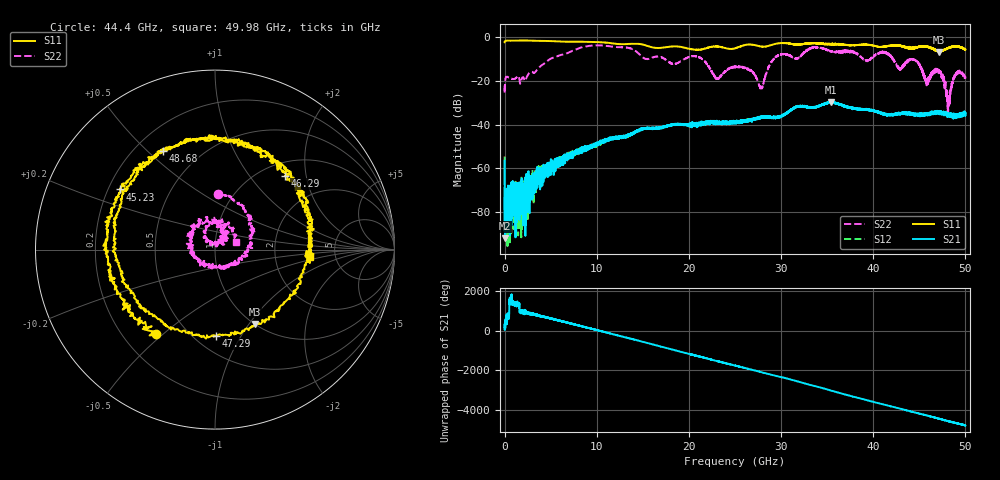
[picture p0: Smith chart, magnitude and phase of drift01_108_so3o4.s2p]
!Created with skrf (http://scikit-rf.org).
# Hz S RI R 50.0
!freq ReS11 ImS11 ReS21 ImS21 ReS12 ImS12 ReS22 ImS22
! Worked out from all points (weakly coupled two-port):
!   10001 points, 300 kHz to 50 GHz, reference 50 ohm
!   highest |S21| = -29.51 dB at 35.42 GHz (marker M1); lowest = -92.0 dB at 55.3 MHz (marker M2)
!   lowest |S11| = -6.6 dB at 47.1 GHz (marker M3), VSWR 2.76, Z = 50.1 - j53.1 ohm
!   |S11| at or under -10 dB: nowhere
!   |S22| runs from -35.3 to -3.6 dB; largest |S21 - S12| = 0.0038
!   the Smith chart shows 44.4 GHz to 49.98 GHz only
!   S11 on the Smith chart (normalised r, x): 44.4 GHz: 0.34, -0.47; 45.23 GHz: 0.25, +0.27; 46.29 GHz: 1.25, +1.52; 47.29 GHz: 0.63, -0.78; 48.68 GHz: 0.31, +0.56; 49.98 GHz: 3.21, -0.38
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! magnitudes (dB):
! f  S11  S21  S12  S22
! 300 kHz  -2.1  -56.5  -54.5  -22.0
! 55.3 MHz  -1.6  -92.0  -74.0  -20.2
! 325.3 MHz  -1.4  -75.3  -88.1  -18.0
! 8.335 GHz  -1.9  -52.5  -52.6  -4.5
! 16.67 GHz  -4.8  -41.5  -41.4  -8.7
! 20.96 GHz  -5.6  -40.0  -39.4  -8.7
! 23.08 GHz  -4.1  -39.1  -39.5  -18.8
! 25 GHz  -5.0  -38.7  -38.8  -13.7
! 27.85 GHz  -4.1  -36.6  -36.8  -23.0
! 29.47 GHz  -2.8  -36.8  -36.5  -8.8
! 33.34 GHz  -2.6  -31.9  -31.9  -4.7
! 35.42 GHz  -2.8  -29.5  -29.8  -6.2
! 41.67 GHz  -3.9  -35.4  -35.4  -7.7
! 44.4 GHz  -4.8  -35.2  -35.2  -10.2
! 45.23 GHz  -4.1  -34.8  -35.8  -14.5
! 46.29 GHz  -4.9  -35.3  -34.3  -17.4
! 47.1 GHz  -6.6  -34.4  -34.5  -15.9
! 47.29 GHz  -6.4  -34.0  -34.1  -16.4
! 48.12 GHz  -4.9  -35.5  -35.4  -31.0
! 48.68 GHz  -4.1  -35.2  -36.0  -19.2
! 49.98 GHz  -5.5  -34.3  -34.9  -18.1
! 50 GHz  -5.5  -34.6  -35.1  -18.4
